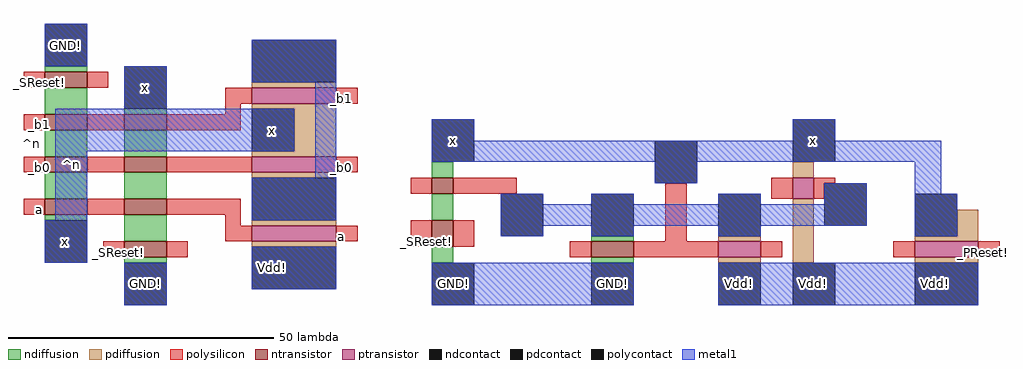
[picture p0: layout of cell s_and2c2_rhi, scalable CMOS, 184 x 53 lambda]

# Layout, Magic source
magic
tech scmos
<< ndiffusion >>
rect -159 605 -151 606
rect -159 597 -151 602
rect -144 597 -136 598
rect -159 589 -151 594
rect -144 589 -136 594
rect -159 581 -151 586
rect -144 581 -136 586
rect -86 585 -82 588
rect -159 577 -151 578
rect -144 573 -136 578
rect -86 577 -82 582
rect -56 573 -48 574
rect -144 569 -136 570
rect -86 569 -82 572
rect -56 569 -48 570
<< pdiffusion >>
rect -120 602 -104 603
rect -120 598 -104 599
rect -112 590 -104 598
rect -120 589 -104 590
rect -120 585 -104 586
rect -18 585 -14 588
rect -120 576 -104 577
rect -120 572 -104 573
rect -32 573 -24 574
rect -32 569 -24 570
rect -18 569 -14 581
rect 13 574 17 579
rect 5 573 17 574
rect 5 569 17 570
<< ntransistor >>
rect -159 602 -151 605
rect -159 594 -151 597
rect -144 594 -136 597
rect -159 586 -151 589
rect -144 586 -136 589
rect -159 578 -151 581
rect -144 578 -136 581
rect -86 582 -82 585
rect -144 570 -136 573
rect -86 572 -82 577
rect -56 570 -48 573
<< ptransistor >>
rect -120 599 -104 602
rect -120 586 -104 589
rect -120 573 -104 576
rect -18 581 -14 585
rect -32 570 -24 573
rect 5 570 17 573
<< polysilicon >>
rect -163 602 -159 605
rect -151 602 -147 605
rect -125 599 -120 602
rect -104 599 -100 602
rect -125 597 -122 599
rect -163 594 -159 597
rect -151 594 -144 597
rect -136 594 -122 597
rect -163 586 -159 589
rect -151 586 -144 589
rect -136 586 -120 589
rect -104 586 -100 589
rect -163 578 -159 581
rect -151 578 -144 581
rect -136 578 -122 581
rect -125 576 -122 578
rect -90 582 -86 585
rect -82 582 -70 585
rect -125 573 -120 576
rect -104 573 -100 576
rect -148 570 -144 573
rect -136 570 -132 573
rect -90 572 -86 577
rect -82 572 -78 577
rect -42 573 -38 584
rect -22 581 -18 585
rect -14 584 -10 585
rect -14 581 -12 584
rect -60 570 -56 573
rect -48 570 -32 573
rect -24 570 -20 573
rect 1 570 5 573
rect 17 570 21 573
<< ndcontact >>
rect -159 606 -151 614
rect -144 598 -136 606
rect -86 588 -78 596
rect -159 569 -151 577
rect -56 574 -48 582
rect -144 561 -136 569
rect -86 561 -78 569
rect -56 561 -48 569
<< pdcontact >>
rect -120 603 -104 611
rect -120 590 -112 598
rect -120 577 -104 585
rect -18 588 -10 596
rect -32 574 -24 582
rect -120 564 -104 572
rect -32 561 -24 569
rect 5 574 13 582
rect -18 561 -10 569
rect 5 561 17 569
<< polycontact >>
rect -44 584 -36 592
rect -73 574 -65 582
rect -12 576 -4 584
<< metal1 >>
rect -159 606 -151 614
rect -144 598 -136 606
rect -120 603 -104 611
rect -157 590 -112 598
rect -157 577 -151 590
rect -108 585 -104 603
rect -86 592 -78 596
rect -18 592 -10 596
rect -86 588 10 592
rect -120 577 -104 585
rect -44 584 -36 588
rect -73 580 -65 582
rect -56 580 -48 582
rect -32 580 -24 582
rect -12 580 -4 584
rect -159 569 -151 577
rect -73 576 -4 580
rect 5 582 10 588
rect -73 574 -65 576
rect -56 574 -48 576
rect -32 574 -24 576
rect 5 574 13 582
rect -144 561 -136 569
rect -120 564 -104 572
rect -86 561 -48 569
rect -32 561 17 569
<< labels >>
rlabel metal1 -116 594 -116 594 1 x
rlabel metal1 -116 568 -116 568 1 Vdd!
rlabel polysilicon -103 574 -103 574 1 a
rlabel metal1 -140 602 -140 602 5 x
rlabel metal1 -140 565 -140 565 1 GND!
rlabel polysilicon -145 571 -145 571 1 _SReset!
rlabel polysilicon -160 579 -160 579 3 a
rlabel metal1 -155 573 -155 573 1 x
rlabel metal1 -155 610 -155 610 5 GND!
rlabel polysilicon -160 603 -160 603 1 _SReset!
rlabel polysilicon -160 587 -160 587 3 _b0
rlabel polysilicon -160 595 -160 595 3 _b1
rlabel polysilicon -103 587 -103 587 7 _b0
rlabel polysilicon -103 600 -103 600 7 _b1
rlabel space -164 569 -159 614 7 ^n
rlabel space -165 560 -143 615 7 ^n
rlabel space -113 563 -99 612 3 ^p
rlabel ndcontact -52 565 -52 565 1 GND!
rlabel pdcontact -28 565 -28 565 1 Vdd!
rlabel polysilicon -87 573 -87 573 1 _SReset!
rlabel metal1 -82 592 -82 592 1 x
rlabel metal1 -14 565 -14 565 1 Vdd!
rlabel metal1 -14 592 -14 592 1 x
rlabel metal1 9 565 9 565 8 Vdd!
rlabel polysilicon 18 571 18 571 7 _PReset!
rlabel metal1 -82 565 -82 565 1 GND!
<< end >>
